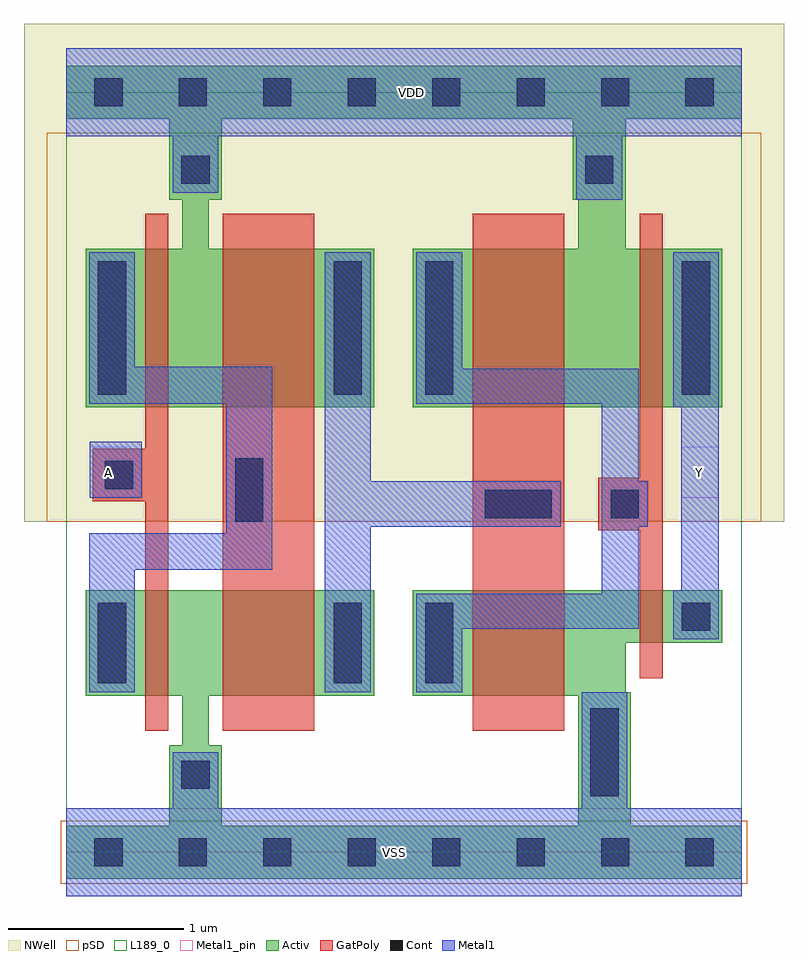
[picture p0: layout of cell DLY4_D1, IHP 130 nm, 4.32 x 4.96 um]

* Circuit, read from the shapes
.subckt DLY4_D1 A VDD VSS Y
XM1 VSS A n1 VSS sg13_lv_nmos w=0.6u l=0.13u
XM2 n2 n1 VSS VSS sg13_lv_nmos w=0.6u l=0.52u
XM3 VSS n2 n3 VSS sg13_lv_nmos w=0.6u l=0.52u
XM4 Y n3 VSS VSS sg13_lv_nmos w=0.3u l=0.13u
XM5 VDD A n1 VDD sg13_lv_pmos w=0.9u l=0.13u
XM6 n2 n1 VDD VDD sg13_lv_pmos w=0.9u l=0.52u
XM7 VDD n2 n3 VDD sg13_lv_pmos w=0.9u l=0.52u
XM8 Y n3 VDD VDD sg13_lv_pmos w=0.9u l=0.13u
.ends

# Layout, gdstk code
import gdstk
lib = gdstk.Library(unit=1e-6, precision=1e-09)
def R(c, l, rs):  # rectangles x0, y0, x1, y1
    for r in rs: c.add(gdstk.rectangle(r[:2], r[2:], *l))
def A(c, l, x, y, w, h, nx, ny, dx, dy):  # array of equal rectangles
    R(c, l, [(x+i*dx, y+j*dy, x+i*dx+w, y+j*dy+h) for i in range(nx) for j in range(ny)])
def P(c, l, *ps):  # polygons
    for p in ps: c.add(gdstk.Polygon(p, *l))
Activ = (1, 0)
GatPoly = (5, 0)
Cont = (6, 0)
Metal1 = (8, 0)
Metal1_pin = (8, 2)
pSD = (14, 0)
NWell = (31, 0)
L189_0 = (189, 0)

dly4_d1 = lib.new_cell('DLY4_D1')
P(dly4_d1, Activ, [(0,-0.15),(0,0.15),(0.585,0.15),(0.585,0.61),(0.66,0.61),(0.66,0.89),(0.11,0.89),(0.11,1.49),(1.75,1.49),(1.75,0.89),(0.81,0.89),(0.81,0.61),(0.885,0.61),(0.885,0.15),(2.91,0.15),(2.91,0.89),(1.97,0.89),(1.97,1.49),(3.73,1.49),(3.73,1.19),(3.18,1.19),(3.18,0.91),(3.21,0.91),(3.21,0.15),(3.84,0.15),(3.84,-0.15)],
  [(0.11,2.53),(0.11,3.43),(0.66,3.43),(0.66,3.71),(0.585,3.71),(0.585,4.17),(0,4.17),(0,4.47),(3.84,4.47),(3.84,4.17),(3.18,4.17),(3.18,3.43),(3.73,3.43),(3.73,2.53),(1.97,2.53),(1.97,3.43),(2.91,3.43),(2.91,3.71),(2.88,3.71),(2.88,4.17),(0.885,4.17),(0.885,3.71),(0.81,3.71),(0.81,3.43),(1.75,3.43),(1.75,2.53)])
R(dly4_d1, GatPoly, [(0.89,0.69,1.41,3.63), (2.31,0.69,2.83,3.63)])
P(dly4_d1, GatPoly, [(0.45,0.69),(0.45,1.995),(0.15,1.995),(0.15,2.295),(0.45,2.295),(0.45,3.63),(0.58,3.63),(0.58,0.69)],
  [(3.26,0.99),(3.26,1.83),(3.025,1.83),(3.025,2.13),(3.26,2.13),(3.26,3.63),(3.39,3.63),(3.39,0.99)])
A(dly4_d1, Cont, 0.16, -0.08, 0.16, 0.16, 8, 2, 0.48, 4.32)
R(dly4_d1, Cont, [(2.98,0.32,3.14,0.82), (0.655,0.36,0.815,0.52), (0.18,0.96,0.34,1.42), (1.52,0.96,1.68,1.42), (2.04,0.96,2.2,1.42), (3.5,1.26,3.66,1.42), (0.96,1.88,1.12,2.24), (2.38,1.9,2.76,2.06), (3.095,1.9,3.255,2.06), (0.22,2.065,0.38,2.225), (0.18,2.6,0.34,3.36), (1.52,2.6,1.68,3.36), (2.04,2.6,2.2,3.36), (3.5,2.6,3.66,3.36), (0.655,3.8,0.815,3.96), (2.95,3.8,3.11,3.96)])
R(dly4_d1, Metal1, [(0.135,2.015,0.43,2.335)])
P(dly4_d1, Metal1, [(0,-0.25),(0,0.25),(0.605,0.25),(0.605,0.57),(0.865,0.57),(0.865,0.25),(2.93,0.25),(2.93,0.91),(3.19,0.91),(3.19,0.25),(3.84,0.25),(3.84,-0.25)],
  [(0.13,0.91),(0.13,1.815),(0.91,1.815),(0.91,2.55),(0.13,2.55),(0.13,3.41),(0.39,3.41),(0.39,2.76),(1.17,2.76),(1.17,1.605),(0.39,1.605),(0.39,0.91)],
  [(1.47,0.91),(1.47,3.41),(1.73,3.41),(1.73,2.11),(2.81,2.11),(2.81,1.85),(1.73,1.85),(1.73,0.91)],
  [(1.99,0.91),(1.99,1.47),(3.045,1.47),(3.045,2.55),(1.99,2.55),(1.99,3.41),(2.25,3.41),(2.25,2.75),(3.255,2.75),(3.255,2.11),(3.305,2.11),(3.305,1.85),(3.255,1.85),(3.255,1.27),(2.25,1.27),(2.25,0.91)],
  [(3.45,1.21),(3.45,1.49),(3.495,1.49),(3.495,2.53),(3.45,2.53),(3.45,3.41),(3.71,3.41),(3.71,1.21)],
  [(2.9,3.71),(2.9,4.07),(0.865,4.07),(0.865,3.75),(0.605,3.75),(0.605,4.07),(0,4.07),(0,4.57),(3.84,4.57),(3.84,4.07),(3.16,4.07),(3.16,3.71)])
R(dly4_d1, Metal1_pin, [(0,-0.25,3.84,0.25), (0.135,2.015,0.345,2.305), (3.495,2.015,3.705,2.305), (0,4.07,3.84,4.57)])
R(dly4_d1, pSD, [(-0.03,-0.18,3.87,0.18), (-0.11,1.88,3.95,4.09)])
R(dly4_d1, NWell, [(-0.24,1.88,4.08,4.71)])
R(dly4_d1, L189_0, [(0,0,3.84,4.32)])
dly4_d1.add(gdstk.Label('VDD', (1.96,4.32), layer=8, texttype=25))
dly4_d1.add(gdstk.Label('Y', (3.6,2.16), layer=8, texttype=25))
dly4_d1.add(gdstk.Label('VSS', (1.865,0), layer=8, texttype=25))
dly4_d1.add(gdstk.Label('A', (0.24,2.16), layer=8, texttype=25))

lib.write_gds('DLY4_D1.gds')
